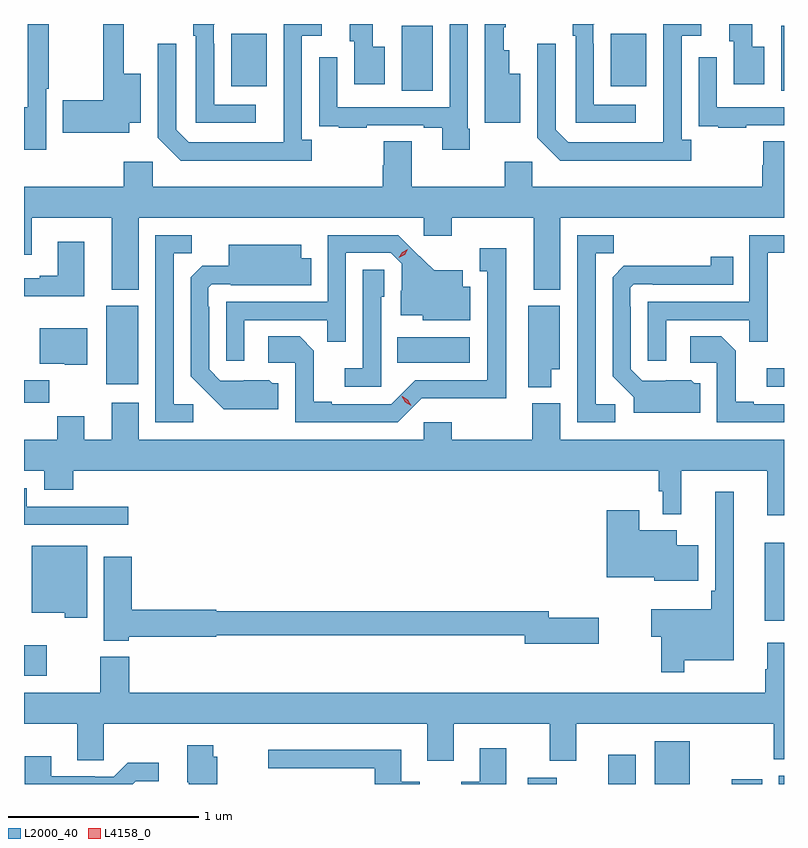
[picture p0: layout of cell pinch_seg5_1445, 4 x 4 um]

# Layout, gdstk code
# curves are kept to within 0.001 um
import gdstk
lib = gdstk.Library(unit=1e-6, precision=1e-09)
def R(c, l, rs):  # rectangles x0, y0, x1, y1
    for r in rs: c.add(gdstk.rectangle(r[:2], r[2:], *l))
def P(c, l, *ps):  # polygons
    for p in ps: c.add(gdstk.Polygon(p, *l))
L2000_40 = (2000, 40)
L4158_0 = (4158, 0)

pinch_seg5_1445 = lib.new_cell('pinch_seg5_1445')
R(pinch_seg5_1445, L2000_40, [(133.169,889.744,133.324,889.777), (133.595,889.744,133.738,889.897), (133.838,889.744,134.023,889.969), (134.243,889.744,134.404,889.768), (134.492,889.744,134.519,889.788), (130.519,890.315,130.639,890.473), (134.417,890.603,134.519,891.013), (130.519,891.75,130.652,891.868), (134.427,891.834,134.519,891.931), (130.952,891.849,131.119,892.261), (132.484,891.962,132.865,892.096), (132.506,893.392,132.67,893.736), (134.504,893.392,134.519,893.736), (131.609,893.417,131.797,893.692), (133.607,893.417,133.795,893.692)])
P(pinch_seg5_1445, L2000_40, [(131.074,893.225),(131.134,893.225),(131.134,893.482),(131.045,893.482),(131.045,893.744),(130.935,893.744),(130.935,893.342),(130.722,893.342),(130.722,893.171),(131.074,893.171)],
  [(133.132,893.482),(133.072,893.482),(133.072,893.605),(133.043,893.605),(133.043,893.727),(133.054,893.727),(133.054,893.744),(132.945,893.744),(132.945,893.478),(132.944,893.478),(132.944,893.225),(133.132,893.225)],
  [(134.416,893.623),(134.353,893.623),(134.353,893.742),(134.328,893.742),(134.328,893.744),(134.231,893.744),(134.231,893.652),(134.255,893.652),(134.255,893.427),(134.416,893.427)],
  [(133.738,893.319),(133.518,893.319),(133.518,893.639),(133.515,893.639),(133.515,893.739),(133.52,893.744),(133.407,893.744),(133.407,893.681),(133.422,893.681),(133.422,893.223),(133.738,893.223)],
  [(132.034,893.134),(131.982,893.134),(131.982,893.682),(132.085,893.682),(132.085,893.744),(131.886,893.744),(131.885,893.121),(131.385,893.121),(131.319,893.187),(131.319,893.641),(131.223,893.641),(131.223,893.145),(131.344,893.024),(132.034,893.024)],
  [(134.032,893.134),(133.98,893.134),(133.98,893.682),(134.083,893.682),(134.083,893.744),(133.884,893.744),(133.883,893.121),(133.383,893.121),(133.317,893.187),(133.317,893.641),(133.221,893.641),(133.221,893.145),(133.342,893.024),(134.032,893.024)],
  [(131.74,893.319),(131.52,893.319),(131.52,893.639),(131.517,893.639),(131.517,893.739),(131.522,893.744),(131.409,893.744),(131.409,893.681),(131.424,893.681),(131.424,893.223),(131.74,893.223)],
  [(132.418,893.623),(132.355,893.623),(132.355,893.742),(132.33,893.742),(132.33,893.744),(132.233,893.744),(132.233,893.652),(132.257,893.652),(132.257,893.427),(132.418,893.427)],
  [(132.864,893.194),(132.855,893.194),(132.855,893.744),(132.759,893.744),(132.759,893.307),(132.168,893.307),(132.168,893.569),(132.072,893.569),(132.072,893.314),(132.073,893.314),(132.073,893.205),(132.175,893.205),(132.175,893.199),(132.323,893.199),(132.323,893.211),(132.623,893.211),(132.623,893.199),(132.719,893.199),(132.719,893.082),(132.864,893.082)],
  [(130.635,893.404),(130.648,893.404),(130.648,893.744),(130.539,893.744),(130.539,893.307),(130.519,893.307),(130.519,893.082),(130.635,893.082)],
  [(134.321,893.211),(134.519,893.211),(134.519,893.307),(134.166,893.307),(134.166,893.569),(134.07,893.569),(134.07,893.314),(134.071,893.314),(134.071,893.205),(134.173,893.205),(134.173,893.199),(134.321,893.199)],
  [(131.122,892.724),(132.624,892.724),(132.624,892.629),(132.771,892.629),(132.771,892.724),(133.202,892.724),(133.202,892.346),(133.342,892.346),(133.342,892.724),(134.519,892.724),(134.519,893.126),(134.41,893.126),(134.41,893.001),(134.405,893.001),(134.405,892.888),(133.194,892.888),(133.194,893.02),(133.048,893.02),(133.048,892.888),(132.559,892.888),(132.559,893.126),(132.412,893.126),(132.412,893.001),(132.407,893.001),(132.407,892.888),(131.196,892.888),(131.196,893.02),(131.045,893.02),(131.045,892.888),(130.519,892.888),(130.519,892.53),(130.561,892.53),(130.561,892.724),(130.982,892.724),(130.982,892.346),(131.122,892.346)],
  [(133.899,892.185),(134.335,892.185),(134.335,892.072),(134.433,892.072),(134.433,892.539),(134.519,892.539),(134.519,892.632),(134.337,892.632),(134.337,892.281),(133.803,892.281),(133.803,891.972),(133.899,891.972)],
  [(131.679,892.185),(132.115,892.185),(132.115,892.072),(132.213,892.072),(132.213,892.539),(132.45,892.539),(132.507,892.482),(132.507,892.34),(132.503,892.34),(132.503,892.211),(132.618,892.211),(132.618,892.184),(132.868,892.184),(132.868,892.36),(132.829,892.36),(132.829,892.447),(132.677,892.447),(132.49,892.632),(132.117,892.632),(132.117,892.281),(131.583,892.281),(131.583,891.972),(131.679,891.972)],
  [(131.41,891.744),(131.307,891.744),(131.307,892.537),(131.403,892.537),(131.403,892.632),(131.211,892.632),(131.211,891.648),(131.41,891.648)],
  [(133.63,891.744),(133.527,891.744),(133.527,892.537),(133.623,892.537),(133.623,892.632),(133.431,892.632),(133.431,891.648),(133.63,891.648)],
  [(130.837,892.597),(130.697,892.597),(130.697,892.42),(130.601,892.42),(130.601,892.407),(130.519,892.407),(130.519,892.31),(130.837,892.31)],
  [(131.857,891.852),(131.826,891.852),(131.81,891.868),(131.553,891.867),(131.493,891.927),(131.493,892.256),(131.49,892.256),(131.49,892.356),(131.508,892.374),(131.608,892.374),(131.608,892.37),(132.032,892.37),(132.032,892.51),(131.977,892.51),(131.977,892.582),(131.597,892.582),(131.597,892.471),(131.456,892.471),(131.397,892.412),(131.397,891.89),(131.569,891.716),(131.857,891.716)],
  [(132.612,891.774),(133.057,891.773),(133.057,892.564),(132.917,892.564),(132.917,892.443),(132.956,892.443),(132.956,891.87),(132.579,891.87),(132.453,891.744),(132.139,891.744),(132.139,891.757),(132.045,891.757),(132.045,892.024),(131.969,892.1),(131.805,892.1),(131.805,891.96),(131.946,891.96),(131.946,891.648),(132.486,891.648)],
  [(134.077,891.852),(134.046,891.852),(134.03,891.868),(133.773,891.867),(133.713,891.927),(133.713,892.256),(133.71,892.256),(133.71,892.356),(133.728,892.374),(133.828,892.374),(133.828,892.371),(134.252,892.371),(134.252,892.519),(134.134,892.519),(134.134,892.472),(133.676,892.471),(133.617,892.412),(133.617,891.89),(133.727,891.78),(133.727,891.698),(134.077,891.698)],
  [(132.399,892.308),(132.414,892.308),(132.414,892.451),(132.303,892.451),(132.303,891.931),(132.207,891.931),(132.207,891.834),(132.399,891.834)],
  [(133.294,891.926),(133.339,891.926),(133.339,892.261),(133.172,892.261),(133.172,891.833),(133.294,891.833)],
  [(130.852,892.144),(130.601,892.144),(130.601,891.956),(130.734,891.956),(130.734,891.95),(130.852,891.95)],
  [(134.519,891.744),(134.359,891.744),(134.359,891.757),(134.265,891.757),(134.265,892.024),(134.189,892.1),(134.025,892.1),(134.025,891.96),(134.166,891.96),(134.166,891.648),(134.519,891.648)],
  [(134.519,891.556),(133.342,891.556),(133.342,891.748),(133.195,891.748),(133.195,891.556),(132.771,891.556),(132.771,891.649),(132.624,891.649),(132.624,891.556),(131.122,891.556),(131.122,891.751),(130.982,891.751),(130.982,891.556),(130.837,891.556),(130.837,891.68),(130.693,891.68),(130.693,891.556),(130.519,891.556),(130.519,891.392),(130.625,891.392),(130.625,891.293),(130.778,891.293),(130.778,891.392),(133.861,891.392),(133.861,891.285),(133.881,891.285),(133.881,891.164),(133.979,891.164),(133.979,891.392),(134.432,891.392),(134.432,891.159),(134.519,891.159)],
  [(131.068,891.204),(130.533,891.204),(130.533,891.3),(130.519,891.3),(130.519,891.108),(131.068,891.108)],
  [(133.993,890.396),(134.254,890.396),(134.254,891.283),(134.157,891.283),(134.157,890.761),(134.137,890.761),(134.137,890.665),(133.82,890.665),(133.82,890.518),(133.872,890.518),(133.872,890.331),(133.993,890.331)],
  [(134.068,891.001),(133.954,891.001),(133.954,891.079),(133.756,891.079),(133.756,891.184),(133.586,891.184),(133.586,890.831),(133.836,890.831),(133.836,890.813),(134.068,890.813)],
  [(130.852,890.998),(130.559,890.998),(130.559,890.645),(130.734,890.645),(130.734,890.618),(130.852,890.618)],
  [(133.543,890.618),(133.282,890.618),(133.282,890.654),(131.532,890.654),(131.532,890.66),(131.087,890.66),(131.087,890.941),(130.94,890.941),(130.94,890.498),(131.07,890.498),(131.07,890.518),(131.532,890.518),(131.532,890.526),(133.154,890.526),(133.154,890.483),(133.543,890.483)],
  [(132.781,890.06),(133.286,890.06),(133.286,889.866),(133.426,889.866),(133.426,890.06),(134.464,890.06),(134.464,889.873),(134.519,889.873),(134.519,890.488),(134.432,890.488),(134.432,890.348),(134.421,890.348),(134.421,890.224),(131.072,890.224),(131.072,890.413),(130.919,890.413),(130.919,890.224),(130.519,890.224),(130.519,890.06),(130.799,890.06),(130.799,889.87),(130.938,889.87),(130.938,890.06),(132.641,890.06),(132.641,889.866),(132.781,889.866)],
  [(131.536,889.888),(131.514,889.888),(131.514,889.948),(131.378,889.948),(131.378,889.752),(131.385,889.752),(131.385,889.744),(131.536,889.744)],
  [(133.057,889.933),(132.917,889.933),(132.917,889.756),(132.821,889.756),(132.821,889.744),(133.057,889.744)],
  [(132.601,889.756),(132.505,889.756),(132.505,889.924),(131.805,889.924),(131.805,889.827),(132.365,889.827),(132.365,889.744),(132.601,889.744)],
  [(131.106,889.758),(131.227,889.758),(131.227,889.855),(131.065,889.855),(130.992,889.782),(130.892,889.782),(130.892,889.785),(130.663,889.785),(130.663,889.891),(130.523,889.891),(130.523,889.744),(131.092,889.744)])
P(pinch_seg5_1445, L4158_0, [(132.492,892.514),(132.492,892.514),(132.509,892.543),(132.54,892.558),(132.54,892.558),(132.54,892.558),(132.523,892.529),(132.492,892.514)],
  [(132.558,891.734),(132.526,891.753),(132.508,891.785),(132.508,891.786),(132.509,891.786),(132.54,891.767),(132.558,891.735),(132.558,891.734)])

lib.write_gds('pinch_seg5_1445.gds')
